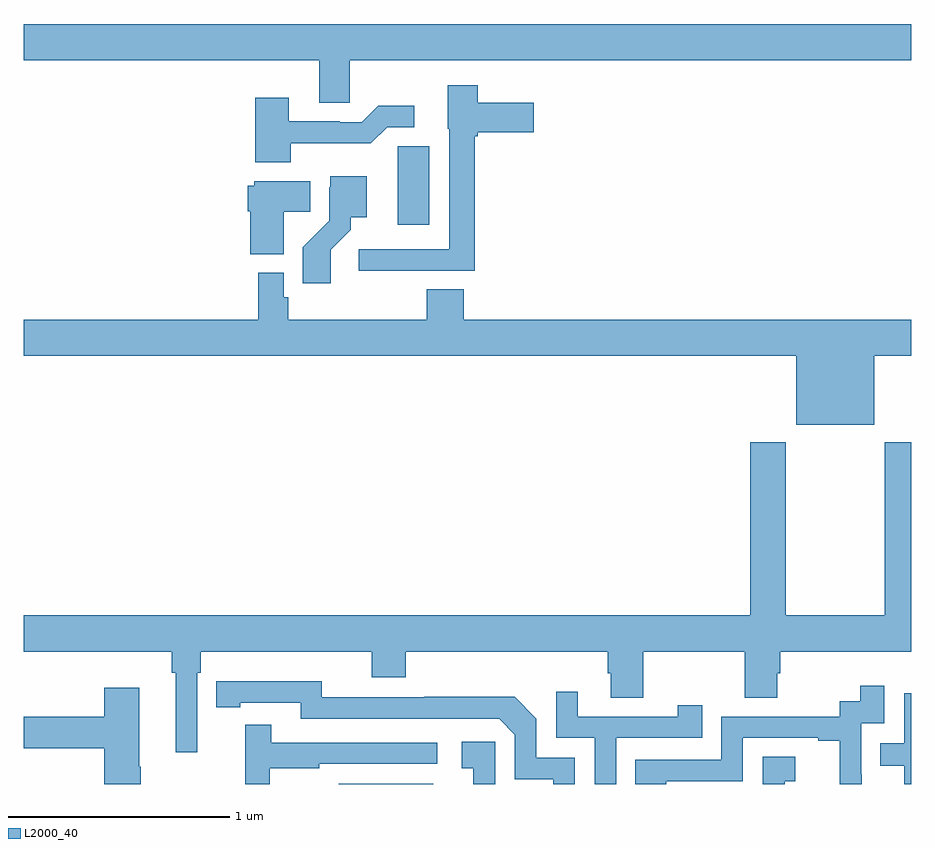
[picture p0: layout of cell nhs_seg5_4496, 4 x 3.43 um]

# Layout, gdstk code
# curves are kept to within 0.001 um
import gdstk
lib = gdstk.Library(unit=1e-6, precision=1e-09)
def R(c, l, rs):  # rectangles x0, y0, x1, y1
    for r in rs: c.add(gdstk.rectangle(r[:2], r[2:], *l))
def P(c, l, *ps):  # polygons
    for p in ps: c.add(gdstk.Polygon(p, *l))
L2000_40 = (2000, 40)

nhs_seg5_4496 = lib.new_cell('nhs_seg5_4496')
R(nhs_seg5_4496, L2000_40, [(376.419,886.799,376.846,886.801)])
P(nhs_seg5_4496, L2000_40, [(376.47,890.06),(379,890.06),(379,890.224),(375,890.224),(375,890.06),(376.331,890.06),(376.331,889.87),(376.47,889.87)],
  [(376.733,889.113),(377.033,889.113),(377.033,889.718),(377.046,889.718),(377.046,889.736),(377.299,889.736),(377.299,889.87),(377.046,889.87),(377.046,889.948),(376.91,889.948),(376.91,889.752),(376.917,889.752),(376.917,889.209),(376.509,889.209),(376.509,889.111),(376.733,889.111)],
  [(376.203,889.686),(376.565,889.686),(376.638,889.758),(376.759,889.758),(376.759,889.855),(376.597,889.855),(376.524,889.782),(376.424,889.782),(376.424,889.785),(376.195,889.785),(376.195,889.891),(376.043,889.891),(376.043,889.601),(376.203,889.601)],
  [(376.828,889.673),(376.686,889.673),(376.686,889.562),(376.685,889.562),(376.685,889.32),(376.828,889.32)],
  [(376.384,889.207),(376.474,889.297),(376.474,889.352),(376.546,889.352),(376.546,889.537),(376.382,889.537),(376.382,889.488),(376.377,889.488),(376.377,889.337),(376.258,889.218),(376.258,889.056),(376.384,889.056)],
  [(376.171,889.378),(376.292,889.378),(376.292,889.516),(376.038,889.516),(376.038,889.494),(376.01,889.494),(376.01,889.38),(376.022,889.38),(376.022,889.187),(376.171,889.187)],
  [(378.832,888.728),(379,888.728),(379,888.892),(376.982,888.892),(376.982,889.028),(376.817,889.028),(376.817,888.892),(376.193,888.892),(376.193,888.993),(376.173,888.993),(376.173,889.102),(376.057,889.102),(376.057,888.892),(375,888.892),(375,888.728),(378.482,888.728),(378.482,888.419),(378.832,888.419)],
  [(375.783,887.3),(375.797,887.3),(375.797,887.396),(376.568,887.396),(376.568,887.279),(376.721,887.279),(376.721,887.396),(377.633,887.396),(377.633,887.298),(377.645,887.298),(377.645,887.188),(377.793,887.188),(377.793,887.396),(378.25,887.396),(378.25,887.188),(378.397,887.188),(378.397,887.298),(378.41,887.298),(378.41,887.396),(379,887.396),(379,888.34),(378.88,888.34),(378.88,887.56),(378.435,887.56),(378.435,888.34),(378.275,888.34),(378.275,887.56),(375,887.56),(375,887.396),(375.667,887.396),(375.667,887.3),(375.686,887.3),(375.686,886.941),(375.783,886.941)],
  [(377.484,886.917),(377.31,886.917),(377.31,887.094),(377.212,887.192),(376.804,887.192),(376.804,887.19),(376.344,887.19),(376.344,887.263),(375.868,887.262),(375.868,887.146),(375.976,887.146),(375.976,887.166),(376.248,887.166),(376.248,887.094),(377.142,887.094),(377.214,887.022),(377.214,886.821),(377.387,886.821),(377.387,886.799),(377.484,886.799)],
  [(377.895,886.812),(378.24,886.812),(378.24,887.007),(378.581,887.007),(378.581,886.995),(378.677,886.995),(378.677,886.799),(378.776,886.799),(378.776,886.844),(378.774,886.844),(378.774,887.073),(378.879,887.073),(378.879,887.242),(378.771,887.242),(378.771,887.172),(378.678,887.172),(378.678,887.103),(378.144,887.103),(378.144,886.908),(377.755,886.908),(377.755,886.799),(377.895,886.799)],
  [(375.528,886.877),(375.52,886.877),(375.52,887.233),(375.362,887.233),(375.362,887.103),(375,887.103),(375,886.961),(375.362,886.961),(375.362,886.799),(375.528,886.799)],
  [(377.67,887.007),(378.059,887.007),(378.059,887.155),(377.948,887.155),(377.948,887.103),(377.497,887.103),(377.497,887.215),(377.4,887.215),(377.4,887.007),(377.574,887.007),(377.574,886.799),(377.67,886.799)],
  [(379,887.208),(378.969,887.208),(378.969,886.983),(378.859,886.983),(378.859,886.882),(378.969,886.882),(378.969,886.799),(379,886.799)],
  [(376.108,886.87),(376.331,886.87),(376.331,886.89),(376.864,886.89),(376.864,886.986),(376.115,886.986),(376.115,887.065),(375.998,887.065),(375.998,886.799),(376.108,886.799)],
  [(377.124,886.99),(376.974,886.99),(376.974,886.869),(377.027,886.869),(377.027,886.799),(377.124,886.799)],
  [(378.429,886.811),(378.478,886.811),(378.478,886.921),(378.33,886.921),(378.33,886.799),(378.429,886.799)])

lib.write_gds('nhs_seg5_4496.gds')
